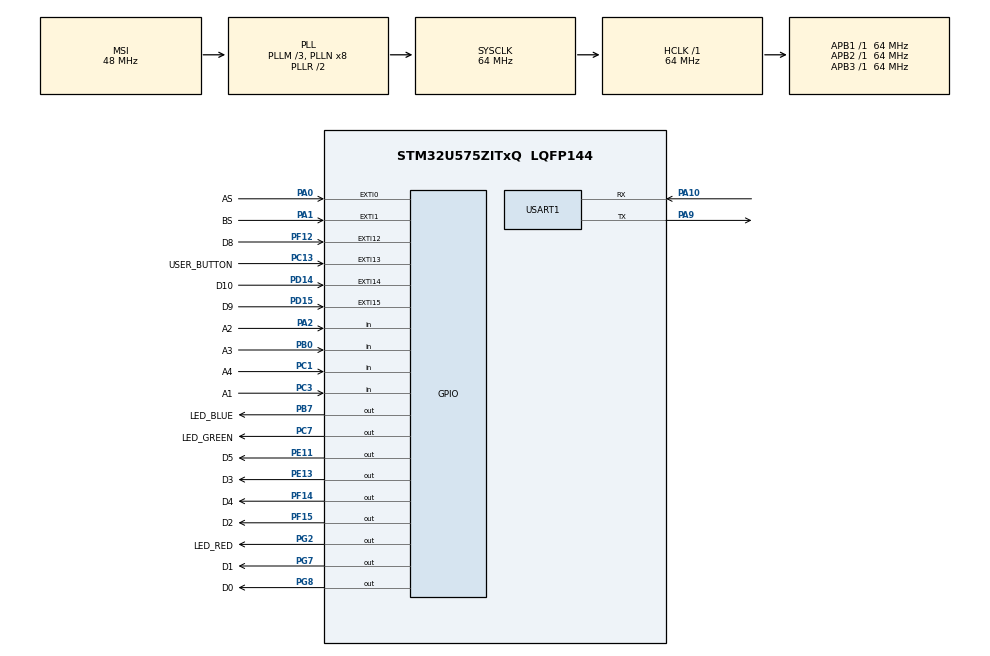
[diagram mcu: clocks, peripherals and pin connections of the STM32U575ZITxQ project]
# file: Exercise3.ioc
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CORTEX_M33_NS.userName=CORTEX_M33
Mcu.Family=STM32U5
Mcu.Name=STM32U575ZITxQ
Mcu.Package=LQFP144
NVIC.EXTI0_IRQn=true\:0\:0\:false\:false\:true\:true\:true\:true
NVIC.EXTI12_IRQn=true\:0\:0\:false\:false\:true\:true\:true\:true
NVIC.EXTI1_IRQn=true\:0\:0\:false\:false\:true\:true\:true\:true
NVIC.PriorityGroup=NVIC_PRIORITYGROUP_3
NVIC.TIM3_IRQn=true\:0\:0\:false\:false\:true\:true\:true\:true
NVIC.TimeBase=TIM17_IRQn
NVIC.TimeBaseIP=TIM17
NVIC.USART1_IRQn=true\:0\:0\:false\:false\:true\:true\:true\:true
PA0.GPIO_Label=AS
PA0.Signal=GPXTI0
PA1.GPIO_Label=BS
PA1.Signal=GPXTI1
PA10.Mode=Asynchronous
PA10.Signal=USART1_RX
PA13\ (JTMS/SWDIO).Signal=DEBUG_JTMS-SWDIO
PA14\ (JTCK/SWCLK).Signal=DEBUG_JTCK-SWCLK
PA2.GPIO_Label=A2
PA2.GPIO_PuPd=GPIO_PULLUP
PA2.Signal=GPIO_Input
PA9.Mode=Asynchronous
PA9.Signal=USART1_TX
PB0.GPIO_Label=A3
PB0.GPIO_PuPd=GPIO_PULLUP
PB0.Signal=GPIO_Input
PB3\ (JTDO/TRACESWO).Signal=DEBUG_JTDO-SWO
PB7.GPIO_Label=LED_BLUE
PB7.Signal=GPIO_Output
PC1.GPIO_Label=A4
PC1.GPIO_PuPd=GPIO_PULLUP
PC1.Signal=GPIO_Input
PC13.GPIO_Label=USER_BUTTON
PC13.Signal=GPXTI13
PC14-OSC32_IN\ (PC14).Signal=RCC_OSC32_IN
PC15-OSC32_OUT\ (PC15).Signal=RCC_OSC32_OUT
PC3.GPIO_Label=A1
PC3.GPIO_PuPd=GPIO_PULLUP
PC3.Signal=GPIO_Input
PC7.GPIO_Label=LED_GREEN
PC7.Signal=GPIO_Output
PD14.GPIO_Label=D10
PD14.Signal=GPXTI14
PD15.GPIO_Label=D9
PD15.Signal=GPXTI15
PE11.GPIO_Label=D5
PE11.Signal=GPIO_Output
PE13.GPIO_Label=D3
PE13.Signal=GPIO_Output
PF12.GPIO_Label=D8
PF12.Signal=GPXTI12
PF14.GPIO_Label=D4
PF14.Signal=GPIO_Output
PF15.GPIO_Label=D2
PF15.Signal=GPIO_Output
PG2.GPIO_Label=LED_RED
PG2.Signal=GPIO_Output
PG7.GPIO_Label=D1
PG7.Signal=GPIO_Output
PG8.GPIO_Label=D0
PG8.Signal=GPIO_Output
PWR.PowerMode=PWR_SMPS_SUPPLY
ProjectManager.HeapSize=0x200
ProjectManager.StackSize=0x400
ProjectManager.TargetToolchain=STM32CubeIDE
RCC.ADCFreq_Value=16000000
RCC.AHBFreq_Value=64000000
RCC.APB1Freq_Value=64000000
RCC.APB1TimFreq_Value=64000000
RCC.APB2Freq_Value=64000000
RCC.APB2TimFreq_Value=64000000
RCC.APB3Freq_Value=64000000
RCC.CortexFreq_Value=64000000
RCC.DACCLockSelectionVirtual=RCC_DAC1CLKSOURCE_LSI
RCC.EPOD_VALUE=48000000
RCC.HCLKFreq_Value=64000000
RCC.HSE_VALUE=16000000
RCC.HSI48_VALUE=48000000
RCC.HSI_VALUE=16000000
RCC.LSE_VALUE=32768
RCC.LSIDIV_VALUE=32000
RCC.MSIClockRange=RCC_MSIRANGE_0
RCC.MSI_VALUE=48000000
RCC.PLL2FRACN=0
RCC.PLL3FRACN=0
RCC.PLLFRACN=0
RCC.PLLM=3
RCC.PLLN=8
RCC.SYSCLKFreq_VALUE=64000000
RCC.SYSCLKSource=RCC_SYSCLKSOURCE_PLLCLK
RCC.USBFreq_Value=48000000
RCC.VCOOutputFreq_Value=128000000
TIM3.PeriodNoDither=499
TIM3.Prescaler=63
USART1.VirtualMode-Asynchronous=VM_ASYNC
VP_ICACHE_VS_ENABLE_ICACHE_MEMORY.Mode=Memoryregions
VP_ICACHE_VS_ICACHE.Mode=DirectMappedCache
VP_LPBAMQUEUE_VS_QUEUE.Mode=QUEUEMODE
VP_LPBAM_VS_SIG1.Mode=SmartRun
VP_LPBAM_VS_SIG4.Mode=LPDMA1
VP_MEMORYMAP_VS_MEMORYMAP.Mode=CurAppReg
VP_PWR_VS_DBSignals.Mode=DisableDeadBatterySignals
VP_PWR_VS_LPOM.Mode=PowerOptimisation
VP_PWR_VS_SECSignals.Mode=Security/Privilege
VP_SYS_VS_tim17.Mode=TIM17
VP_TIM3_VS_ClockSourceINT.Mode=Internal
board=NUCLEO-U575ZI-Q

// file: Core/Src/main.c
/* USER CODE BEGIN Header */
/**
  ******************************************************************************
  * @file           : main.c
  * @brief          : Main program body
  ******************************************************************************
  * @attention
  *
  * Copyright (c) 2026 STMicroelectronics.
  * All rights reserved.
  *
  * This software is licensed under terms that can be found in the LICENSE file
  * in the root directory of this software component.
  * If no LICENSE file comes with this software, it is provided AS-IS.
  *
  ******************************************************************************
  */
/* USER CODE END Header */
#include "main.h"

/* USER CODE BEGIN PM */

//Redefines buttons for simplicity
// Positive x direction is forward
//Positive y direction is left
//positive z direction is up
//Left movement port and pin
#define LEFT_Port      A1_GPIO_Port
#define LEFT_Pin       A1_Pin
//Right movement port and pin
#define RIGHT_Port     A2_GPIO_Port
#define RIGHT_Pin      A2_Pin
//Backward movement port and pin
#define BACK_Port      A3_GPIO_Port
#define BACK_Pin       A3_Pin
//Forward movement port and pin
#define FORWARD_Port   A4_GPIO_Port
#define FORWARD_Pin    A4_Pin
//Up down output port and pin
#define ZPUL_Port      D5_GPIO_Port
#define ZPUL_Pin       D5_Pin
#define ZDIR_Port      D4_GPIO_Port
#define ZDIR_Pin       D4_Pin
//Forward back output/direction
#define XPUL_Port      D3_GPIO_Port
#define XPUL_Pin       D3_Pin
#define XDIR_Port      D2_GPIO_Port
#define XDIR_Pin       D2_Pin
// Left right output
#define YPUL_Port      D1_GPIO_Port
#define YPUL_Pin       D1_Pin
#define YDIR_Port      D0_GPIO_Port
#define YDIR_Pin       D0_Pin
// Z axis proximity sensor
#define ZPROX_Port     D8_GPIO_Port
#define ZPROX_Pin      D8_Pin
// Y axis proximity sensor
#define YPROX_Port     D9_GPIO_Port
#define YPROX_Pin      D9_Pin
//x axis proximity sensor
#define XPROX_Port     D10_GPIO_Port
#define XPROX_Pin      D10_Pin

/* USER CODE END PM */

TIM_HandleTypeDef htim3;

UART_HandleTypeDef huart1;

/* USER CODE BEGIN PV */

/*What period should we use to achieve 22 m/s?
 * T = ( L(lead in mm/rev)* Steps_Per_Rev(200 for out gantry system) )/ (Desired Speed: 22 mm/s) = steps/sec
 * L = 8mm, 200 steps per rev, V = 22 mm/s : 550 steps/ sec
 * Take reciprocal: 0.018 seconds/step = 1.8 ms
 * Use 1.8ms for high and low
 *
 */

#define stepInterval 1.8f

GPIO_PinState leftButtonState;
GPIO_PinState rightButtonState;
GPIO_PinState forwardButtonState;
GPIO_PinState backButtonState;
//Records time since recent step to produce signal
uint32_t lastXStep = 0;
uint32_t lastYStep = 0;
uint32_t lastZStep = 0;

//Alternates between on and off to produce signal
uint8_t xStepState = 0;
uint8_t yStepState = 0;
uint8_t zStepState = 0;

//State of 2mm proximity
volatile uint8_t zProximityDetected = 0;
volatile uint8_t yProximityDetected = 0;
volatile uint8_t xProximityDetected = 0;

//Determines calibration state of each axis

uint8_t zCalibrated = 0;
uint8_t yCalibrated = 0;
uint8_t xCalibrated = 0;

// enums that state machine utilizes to calibrate

typedef enum
{
    CAL_Z_DOWN,
    CAL_Z_UP,
    CAL_Y_RIGHT,
    CAL_Y_LEFT,
    CAL_X_BACK,
    CAL_X_FORWARD,
    CAL_WAIT,
    CAL_DONE
} CalibrationState;

CalibrationState calState = CAL_Z_DOWN;
//Initialize states
ZState zState = Z_IDLE;
YState yState = Y_IDLE;
XState xState = X_IDLE;

//Global origin values

int32_t xPosition = 0;
int32_t yPosition = 0;
int32_t zPosition = 0;

//Defines step parameters
#define FULL_STEPS_PER_REV    200
#define MICROSTEP             2
#define PULSES_PER_REV        (FULL_STEPS_PER_REV * MICROSTEP)

#define LEAD_MM_PER_REV       8
#define PULSES_PER_MM         (PULSES_PER_REV / LEAD_MM_PER_REV)

#define Z_BACKOFF_MM          10
#define Y_BACKOFF_MM          100

#define Z_BACKOFF_PULSES      (Z_BACKOFF_MM * PULSES_PER_MM)
#define Y_BACKOFF_PULSES      (Y_BACKOFF_MM * PULSES_PER_MM)

//For hardware interrupt
//Can now turn this on and off to control motor
volatile uint8_t zMotorRunning = 0;
volatile uint8_t yMotorRunning = 0;
volatile uint8_t xMotorRunning = 0;

//For moving up 10mm
volatile uint32_t zPulseCount = 0;

//for moving left 10mm
volatile uint32_t yPulseCount = 0;

/* USER CODE END PV */

void SystemClock_Config(void);
static void SystemPower_Config(void);
static void MX_GPIO_Init(void);
static void MX_ICACHE_Init(void);
static void MX_USART1_UART_Init(void);
static void MX_TIM3_Init(void);

int main(void)
{

  /* MCU Configuration--------------------------------------------------------*/

  /* Reset of all peripherals, Initializes the Flash interface and the Systick. */
  HAL_Init();

  /* Configure the System Power */
  SystemPower_Config();

  /* Configure the system clock */
  SystemClock_Config();

  /* Initialize all configured peripherals */
  MX_GPIO_Init();
  MX_ICACHE_Init();
  MX_USART1_UART_Init();
  MX_TIM3_Init();
  /* USER CODE BEGIN 2 */

  //Startup Loop
  while (1)
  {
      leftButtonState = HAL_GPIO_ReadPin(LEFT_Port, LEFT_Pin);

      rightButtonState = HAL_GPIO_ReadPin(RIGHT_Port, RIGHT_Pin);

      forwardButtonState = HAL_GPIO_ReadPin(FORWARD_Port, FORWARD_Pin);

      if (rightButtonState == GPIO_PIN_RESET)
      {
    	  xMotorRunning = 0;
    	  yMotorRunning = 0;
          break;
      }

      if (leftButtonState == GPIO_PIN_RESET)
      {
    	  HAL_GPIO_WritePin(YDIR_Port, YDIR_Pin, GPIO_PIN_SET);
    	  yMotorRunning = 1;
      }
      else
      {
    	  yMotorRunning = 0;
    	  HAL_GPIO_WritePin(YPUL_Port, YPUL_Pin, GPIO_PIN_RESET);
      }

      if (forwardButtonState == GPIO_PIN_RESET)
      {
          // move X forward
    	  HAL_GPIO_WritePin(XDIR_Port, XDIR_Pin, GPIO_PIN_SET);
    	  xMotorRunning = 1;
      }
      else
      {
    	  xMotorRunning = 0;
    	  HAL_GPIO_WritePin(XPUL_Port, XPUL_Pin, GPIO_PIN_RESET);
      }
  }
  /* USER CODE END 2 */

  /* Infinite loop */
  /* USER CODE BEGIN WHILE */

  while (1)
  {

	 //Calibrate the sensors
	 Calibration();

    /* USER CODE END WHILE */

  }
}

void SystemClock_Config(void)
{
  RCC_OscInitTypeDef RCC_OscInitStruct = {0};
  RCC_ClkInitTypeDef RCC_ClkInitStruct = {0};

  /** Configure the main internal regulator output voltage
  */
  if (HAL_PWREx_ControlVoltageScaling(PWR_REGULATOR_VOLTAGE_SCALE2) != HAL_OK)
  {
    Error_Handler();
  }

  /** Initializes the CPU, AHB and APB buses clocks
  */
  RCC_OscInitStruct.OscillatorType = RCC_OSCILLATORTYPE_MSI;
  RCC_OscInitStruct.MSIState = RCC_MSI_ON;
  RCC_OscInitStruct.MSICalibrationValue = RCC_MSICALIBRATION_DEFAULT;
  RCC_OscInitStruct.MSIClockRange = RCC_MSIRANGE_0;
  RCC_OscInitStruct.PLL.PLLState = RCC_PLL_ON;
  RCC_OscInitStruct.PLL.PLLSource = RCC_PLLSOURCE_MSI;
  RCC_OscInitStruct.PLL.PLLMBOOST = RCC_PLLMBOOST_DIV4;
  RCC_OscInitStruct.PLL.PLLM = 3;
  RCC_OscInitStruct.PLL.PLLN = 8;
  RCC_OscInitStruct.PLL.PLLP = 2;
  RCC_OscInitStruct.PLL.PLLQ = 2;
  RCC_OscInitStruct.PLL.PLLR = 2;
  RCC_OscInitStruct.PLL.PLLRGE = RCC_PLLVCIRANGE_1;
  RCC_OscInitStruct.PLL.PLLFRACN = 0;
  if (HAL_RCC_OscConfig(&RCC_OscInitStruct) != HAL_OK)
  {
    Error_Handler();
  }

  /** Initializes the CPU, AHB and APB buses clocks
  */
  RCC_ClkInitStruct.ClockType = RCC_CLOCKTYPE_HCLK|RCC_CLOCKTYPE_SYSCLK
                              |RCC_CLOCKTYPE_PCLK1|RCC_CLOCKTYPE_PCLK2
                              |RCC_CLOCKTYPE_PCLK3;
  RCC_ClkInitStruct.SYSCLKSource = RCC_SYSCLKSOURCE_PLLCLK;
  RCC_ClkInitStruct.AHBCLKDivider = RCC_SYSCLK_DIV1;
  RCC_ClkInitStruct.APB1CLKDivider = RCC_HCLK_DIV1;
  RCC_ClkInitStruct.APB2CLKDivider = RCC_HCLK_DIV1;
  RCC_ClkInitStruct.APB3CLKDivider = RCC_HCLK_DIV1;

  if (HAL_RCC_ClockConfig(&RCC_ClkInitStruct, FLASH_LATENCY_2) != HAL_OK)
  {
    Error_Handler();
  }
}

/**
  * @brief Power Configuration
  * @retval None
  */
static void SystemPower_Config(void)
{
  HAL_PWREx_EnableVddIO2();

  /*
   * Disable the internal Pull-Up in Dead Battery pins of UCPD peripheral
   */
  HAL_PWREx_DisableUCPDDeadBattery();

  /*
   * Switch to SMPS regulator instead of LDO
   */
  if (HAL_PWREx_ConfigSupply(PWR_SMPS_SUPPLY) != HAL_OK)
  {
    Error_Handler();
  }
}

static void MX_ICACHE_Init(void)
{

  /** Enable instruction cache in 1-way (direct mapped cache)
  */
  if (HAL_ICACHE_ConfigAssociativityMode(ICACHE_1WAY) != HAL_OK)
  {
    Error_Handler();
  }
  if (HAL_ICACHE_Enable() != HAL_OK)
  {
    Error_Handler();
  }

}

static void MX_TIM3_Init(void)
{

  TIM_ClockConfigTypeDef sClockSourceConfig = {0};
  TIM_MasterConfigTypeDef sMasterConfig = {0};

  htim3.Instance = TIM3;
  htim3.Init.Prescaler = 63;
  htim3.Init.CounterMode = TIM_COUNTERMODE_UP;
  htim3.Init.Period = 499;
  htim3.Init.ClockDivision = TIM_CLOCKDIVISION_DIV1;
  htim3.Init.AutoReloadPreload = TIM_AUTORELOAD_PRELOAD_DISABLE;
  if (HAL_TIM_Base_Init(&htim3) != HAL_OK)
  {
    Error_Handler();
  }
  sClockSourceConfig.ClockSource = TIM_CLOCKSOURCE_INTERNAL;
  if (HAL_TIM_ConfigClockSource(&htim3, &sClockSourceConfig) != HAL_OK)
  {
    Error_Handler();
  }
  sMasterConfig.MasterOutputTrigger = TIM_TRGO_RESET;
  sMasterConfig.MasterSlaveMode = TIM_MASTERSLAVEMODE_DISABLE;
  if (HAL_TIMEx_MasterConfigSynchronization(&htim3, &sMasterConfig) != HAL_OK)
  {
    Error_Handler();
  }
  /* USER CODE BEGIN TIM3_Init 2 */
  HAL_TIM_Base_Start_IT(&htim2);
  /* USER CODE END TIM3_Init 2 */

}

static void MX_USART1_UART_Init(void)
{

  huart1.Instance = USART1;
  huart1.Init.BaudRate = 115200;
  huart1.Init.WordLength = UART_WORDLENGTH_8B;
  huart1.Init.StopBits = UART_STOPBITS_1;
  huart1.Init.Parity = UART_PARITY_NONE;
  huart1.Init.Mode = UART_MODE_TX_RX;
  huart1.Init.HwFlowCtl = UART_HWCONTROL_NONE;
  huart1.Init.OverSampling = UART_OVERSAMPLING_16;
  huart1.Init.OneBitSampling = UART_ONE_BIT_SAMPLE_DISABLE;
  huart1.Init.ClockPrescaler = UART_PRESCALER_DIV1;
  huart1.AdvancedInit.AdvFeatureInit = UART_ADVFEATURE_NO_INIT;
  if (HAL_UART_Init(&huart1) != HAL_OK)
  {
    Error_Handler();
  }
  if (HAL_UARTEx_SetTxFifoThreshold(&huart1, UART_TXFIFO_THRESHOLD_1_8) != HAL_OK)
  {
    Error_Handler();
  }
  if (HAL_UARTEx_SetRxFifoThreshold(&huart1, UART_RXFIFO_THRESHOLD_1_8) != HAL_OK)
  {
    Error_Handler();
  }
  if (HAL_UARTEx_DisableFifoMode(&huart1) != HAL_OK)
  {
    Error_Handler();
  }

}

static void MX_GPIO_Init(void)
{
  GPIO_InitTypeDef GPIO_InitStruct = {0};

  /* GPIO Ports Clock Enable */
  __HAL_RCC_GPIOC_CLK_ENABLE();
  __HAL_RCC_GPIOA_CLK_ENABLE();
  __HAL_RCC_GPIOB_CLK_ENABLE();
  __HAL_RCC_GPIOF_CLK_ENABLE();
  __HAL_RCC_GPIOE_CLK_ENABLE();
  __HAL_RCC_GPIOD_CLK_ENABLE();
  __HAL_RCC_GPIOG_CLK_ENABLE();

  /*Configure GPIO pin Output Level */
  HAL_GPIO_WritePin(GPIOF, D4_Pin|D2_Pin, GPIO_PIN_RESET);

  /*Configure GPIO pin Output Level */
  HAL_GPIO_WritePin(GPIOE, D5_Pin|D3_Pin, GPIO_PIN_RESET);

  /*Configure GPIO pin Output Level */
  HAL_GPIO_WritePin(GPIOG, LED_RED_Pin|D1_Pin|D0_Pin, GPIO_PIN_RESET);

  /*Configure GPIO pin Output Level */
  HAL_GPIO_WritePin(LED_GREEN_GPIO_Port, LED_GREEN_Pin, GPIO_PIN_RESET);

  /*Configure GPIO pin Output Level */
  HAL_GPIO_WritePin(LED_BLUE_GPIO_Port, LED_BLUE_Pin, GPIO_PIN_RESET);

  /*Configure GPIO pin : USER_BUTTON_Pin */
  GPIO_InitStruct.Pin = USER_BUTTON_Pin;
  GPIO_InitStruct.Mode = GPIO_MODE_IT_RISING;
  GPIO_InitStruct.Pull = GPIO_NOPULL;
  HAL_GPIO_Init(USER_BUTTON_GPIO_Port, &GPIO_InitStruct);

  /*Configure GPIO pins : A4_Pin A1_Pin */
  GPIO_InitStruct.Pin = A4_Pin|A1_Pin;
  GPIO_InitStruct.Mode = GPIO_MODE_INPUT;
  GPIO_InitStruct.Pull = GPIO_PULLUP;
  HAL_GPIO_Init(GPIOC, &GPIO_InitStruct);

  /*Configure GPIO pins : AS_Pin BS_Pin */
  GPIO_InitStruct.Pin = AS_Pin|BS_Pin;
  GPIO_InitStruct.Mode = GPIO_MODE_IT_RISING;
  GPIO_InitStruct.Pull = GPIO_NOPULL;
  HAL_GPIO_Init(GPIOA, &GPIO_InitStruct);

  /*Configure GPIO pin : A2_Pin */
  GPIO_InitStruct.Pin = A2_Pin;
  GPIO_InitStruct.Mode = GPIO_MODE_INPUT;
  GPIO_InitStruct.Pull = GPIO_PULLUP;
  HAL_GPIO_Init(A2_GPIO_Port, &GPIO_InitStruct);

  /*Configure GPIO pin : A3_Pin */
  GPIO_InitStruct.Pin = A3_Pin;
  GPIO_InitStruct.Mode = GPIO_MODE_INPUT;
  GPIO_InitStruct.Pull = GPIO_PULLUP;
  HAL_GPIO_Init(A3_GPIO_Port, &GPIO_InitStruct);

  /*Configure GPIO pin : D8_Pin */
  GPIO_InitStruct.Pin = D8_Pin;
  GPIO_InitStruct.Mode = GPIO_MODE_IT_RISING;
  GPIO_InitStruct.Pull = GPIO_NOPULL;
  HAL_GPIO_Init(D8_GPIO_Port, &GPIO_InitStruct);

  /*Configure GPIO pins : D4_Pin D2_Pin */
  GPIO_InitStruct.Pin = D4_Pin|D2_Pin;
  GPIO_InitStruct.Mode = GPIO_MODE_OUTPUT_PP;
  GPIO_InitStruct.Pull = GPIO_NOPULL;
  GPIO_InitStruct.Speed = GPIO_SPEED_FREQ_LOW;
  HAL_GPIO_Init(GPIOF, &GPIO_InitStruct);

  /*Configure GPIO pins : D5_Pin D3_Pin */
  GPIO_InitStruct.Pin = D5_Pin|D3_Pin;
  GPIO_InitStruct.Mode = GPIO_MODE_OUTPUT_PP;
  GPIO_InitStruct.Pull = GPIO_NOPULL;
  GPIO_InitStruct.Speed = GPIO_SPEED_FREQ_LOW;
  HAL_GPIO_Init(GPIOE, &GPIO_InitStruct);

  /*Configure GPIO pins : D10_Pin D9_Pin */
  GPIO_InitStruct.Pin = D10_Pin|D9_Pin;
  GPIO_InitStruct.Mode = GPIO_MODE_IT_RISING;
  GPIO_InitStruct.Pull = GPIO_NOPULL;
  HAL_GPIO_Init(GPIOD, &GPIO_InitStruct);

  /*Configure GPIO pins : LED_RED_Pin D1_Pin D0_Pin */
  GPIO_InitStruct.Pin = LED_RED_Pin|D1_Pin|D0_Pin;
  GPIO_InitStruct.Mode = GPIO_MODE_OUTPUT_PP;
  GPIO_InitStruct.Pull = GPIO_NOPULL;
  GPIO_InitStruct.Speed = GPIO_SPEED_FREQ_LOW;
  HAL_GPIO_Init(GPIOG, &GPIO_InitStruct);

  /*Configure GPIO pin : LED_GREEN_Pin */
  GPIO_InitStruct.Pin = LED_GREEN_Pin;
  GPIO_InitStruct.Mode = GPIO_MODE_OUTPUT_PP;
  GPIO_InitStruct.Pull = GPIO_NOPULL;
  GPIO_InitStruct.Speed = GPIO_SPEED_FREQ_LOW;
  HAL_GPIO_Init(LED_GREEN_GPIO_Port, &GPIO_InitStruct);

  /*Configure GPIO pin : LED_BLUE_Pin */
  GPIO_InitStruct.Pin = LED_BLUE_Pin;
  GPIO_InitStruct.Mode = GPIO_MODE_OUTPUT_PP;
  GPIO_InitStruct.Pull = GPIO_NOPULL;
  GPIO_InitStruct.Speed = GPIO_SPEED_FREQ_LOW;
  HAL_GPIO_Init(LED_BLUE_GPIO_Port, &GPIO_InitStruct);

  /* EXTI interrupt init*/
  HAL_NVIC_SetPriority(EXTI0_IRQn, 0, 0);
  HAL_NVIC_EnableIRQ(EXTI0_IRQn);

  HAL_NVIC_SetPriority(EXTI1_IRQn, 0, 0);
  HAL_NVIC_EnableIRQ(EXTI1_IRQn);

  HAL_NVIC_SetPriority(EXTI12_IRQn, 0, 0);
  HAL_NVIC_EnableIRQ(EXTI12_IRQn);

}

/* USER CODE BEGIN 4 */

//Calibrates the Z-Origin
void Calibration()
{
	switch (calState)
	{
	    case CAL_Z_DOWN:
	    	HAL_GPIO_WritePin(ZDIR_Port, ZDIR_Pin, GPIO_PIN_RESET);
	    	zMotorRunning  = 1;
	    	if (zProximityDetected)
	    	{
	    		calState = CAL_Z_UP;
	    	}
	        break;

	    case CAL_Z_UP:
	    	//Incremented in timer interrupt
	    	zPulseCount = 0;

	    	//Up direction
	    	HAL_GPIO_WritePin(ZDIR_Port, ZDIR_Pin, GPIO_PIN_SET);

	    	zMotorRunning = 1;

	        // move exactly 10 mm, 50 pulses per mm so 500 pulses per 10mm
	    	if (zPulseCount >= 500)
	    	{
	    	    zMotorRunning = 0;

	    	    HAL_GPIO_WritePin(ZPUL_Port, ZPUL_Pin, GPIO_PIN_RESET);

	    	    zPosition = 0;

	    	    calState = CAL_Y_RIGHT;
	    	}
	        break;
	        //Move right until D9 interrupt
	    case CAL_Y_RIGHT:
	    	//Sets y-direction to right
	    	HAL_GPIO_WritePin(YDIR_Port, YDIR_Pin, GPIO_PIN_RESET);
	    	//Turns on y motor (timer interrupt checks this)
	    	yMotorRunning = 1;
	    	if (yProximityDetected)
	    	{
	    		calState = CAL_Y_LEFT;
	    	}
	        break;
	    //Move 100 mm left
	    case CAL_Y_LEFT:
	        yPulseCount = 0;

	        HAL_GPIO_WritePin(YDIR_Port, YDIR_Pin, GPIO_PIN_SET);
	        if (yPulseCount >= 5000)
	        {
	        	yMotorRunning = 0;

	        	HAL_GPIO_WritePin(YPUL_Port, ZPUL_Pin, GPIO_PIN_RESET);

	        	yPosition = 0;

	        	calState = CAL_X_BACK;
	        }
	        break;

	    case CAL_X_BACK:
	        // move backward until D10 interrupt
	    	HAL_GPIO_WritePin(XDIR_Port, XDIR_Pin, GPIO_PIN_RESET);

	    	xMotorRunning = 1;
	    	if (xProximityDetected = 1)
	    	{
	    		calState = CAL_X_FORWARD;
	    	}
	        break;

	    case CAL_X_FORWARD:
	        // move measured distance
	    	HAL_GPIO_WritePin(XDIR_Port, XDIR_Pin, GPIO_PIN_SET);

	    	if (xPulseCount >= 5000)
	    	{
	    		xMotorRunning = 0;

	    		HAL_GPIO_WritePin(XPUL_Port, XDIR_Pin, GPIO_PIN_RESET);

	    		calState = CAL_WAIT;
	    	}

	        break;

	    case CAL_WAIT:
	        // wait 5 seconds
	        break;

	    case CAL_DONE:
	        break;
	}
}

//Interrupt triggered externally
void HAL_GPIO_EXTI_Rising_Callback(uint16_t GPIO_Pin)
{
	UNUSED(GPIO_Pin);

	// Z-axis proximity pin triggered
	if (GPIO_Pin == ZPROX_Pin)
	{
		zProxmityDetected = 1;
		zMotorRunning = 0;
	    HAL_GPIO_WritePin(ZPUL_Port, ZPUL_Pin, GPIO_PIN_RESET);

	}
	//Symmetrical
	else if (GPIO_Pin == YPROX_Pin)
	{
		yProximityDetected = 1;

		yMotorRunning = 0;

		HAL_GPIO_WritePin(YPUL_Port, ZPUL_Pin, GPIO_PIN_RESET);
	}
	else if (GPIO_Pin == XPROX_Pin)
	{
		xProximityDetected = 1;
		xMotorRunning = 0;
		HAL_GPIO_WritePin(XPUL_Port, XPUL_Pin, GPIO_PIN_RESET);
	}

}
/* USER CODE END 4 */

void HAL_TIM_PeriodElapsedCallback(TIM_HandleTypeDef *htim)
{
  /* USER CODE BEGIN Callback 0 */
	if (htim->Instance == TIM2)
	{
	    if (zMotorRunning)
	    {
	        zStepState = !zStepState;

	        HAL_GPIO_WritePin(ZPUL_Port, ZPUL_Pin, zStepState ? GPIO_PIN_SET : GPIO_PIN_RESET);
	        if (zStepState == 1)
	        {
	            zPulseCount++;
	        }
	    }

	    if (yMotorRunning)
	    {
	        yStepState = !yStepState;

	        HAL_GPIO_WritePin(YPUL_Port, YPUL_Pin, yStepState ? GPIO_PIN_SET : GPIO_PIN_RESET);
	    }

	    if (xMotorRunning)
	    {
	        xStepState = !xStepState;

	        HAL_GPIO_WritePin(XPUL_Port, XPUL_Pin, xStepState ? GPIO_PIN_SET : GPIO_PIN_RESET);
	    }
	}
  /* USER CODE END Callback 0 */
  if (htim->Instance == TIM17)
  {
    HAL_IncTick();
  }
}

void Error_Handler(void)
{
  __disable_irq();
  while (1)
  {
  }
}
